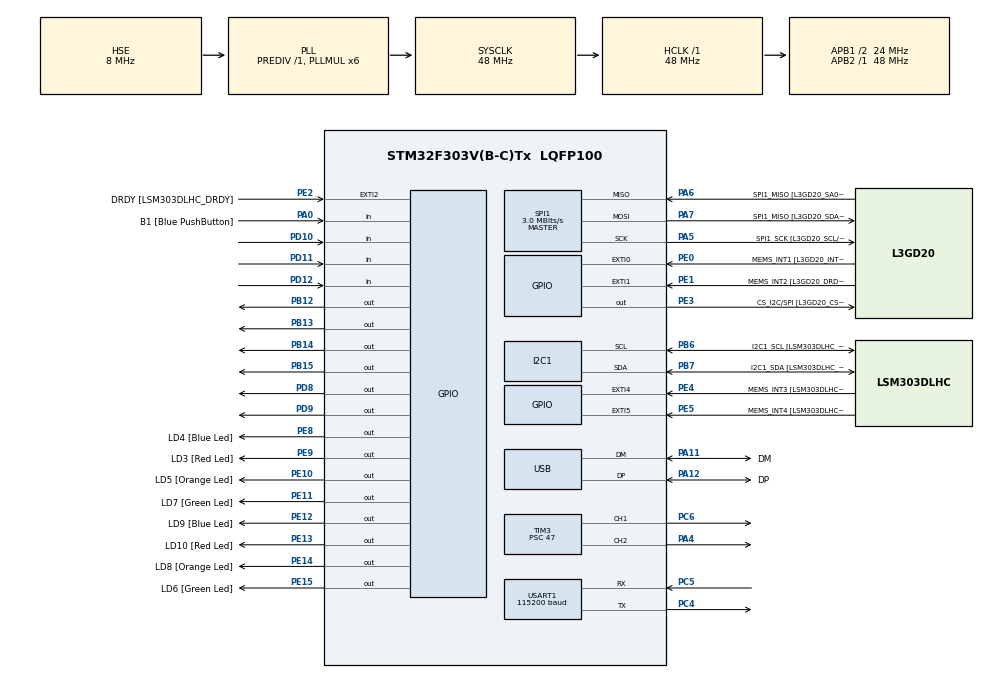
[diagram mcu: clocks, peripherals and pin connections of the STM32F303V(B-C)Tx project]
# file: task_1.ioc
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I2C1.Timing=0x00201D2B
I2C1.Timing-I2C=0x2000090E
Mcu.Family=STM32F3
Mcu.Name=STM32F303V(B-C)Tx
Mcu.Package=LQFP100
NVIC.PriorityGroup=NVIC_PRIORITYGROUP_0
NVIC.TIM3_IRQn=true\:0\:0\:false\:false\:true\:true\:true\:true
NVIC.USB_LP_CAN_RX0_IRQn=true\:0\:0\:false\:false\:true\:false\:true\:true
PA0.GPIO_Label=B1 [Blue PushButton]
PA0.Signal=GPIO_Input
PA11.GPIO_Label=DM
PA11.Mode=Device
PA11.Signal=USB_DM
PA12.GPIO_Label=DP
PA12.Mode=Device
PA12.Signal=USB_DP
PA13.GPIO_Label=SWDIO
PA13.Mode=Serial_Wire
PA13.Signal=SYS_JTMS-SWDIO
PA14.GPIO_Label=SWCLK
PA14.Mode=Serial_Wire
PA14.Signal=SYS_JTCK-SWCLK
PA4.Signal=S_TIM3_CH2
PA5.GPIO_Label=SPI1_SCK [L3GD20_SCL/SPC]
PA5.Mode=Full_Duplex_Master
PA5.Signal=SPI1_SCK
PA6.GPIO_Label=SPI1_MISO [L3GD20_SA0/SDO]
PA6.Mode=Full_Duplex_Master
PA6.Signal=SPI1_MISO
PA7.GPIO_Label=SPI1_MISO [L3GD20_SDA/SDI/SDO]
PA7.Mode=Full_Duplex_Master
PA7.Signal=SPI1_MOSI
PB12.Signal=GPIO_Output
PB13.Signal=GPIO_Output
PB14.Signal=GPIO_Output
PB15.Signal=GPIO_Output
PB3.GPIO_Label=SWO
PB3.Signal=SYS_JTDO-TRACESWO
PB6.GPIO_Label=I2C1_SCL [LSM303DLHC_SCL]
PB6.GPIO_Pu=GPIO_PULLUP
PB6.Mode=I2C
PB6.Signal=I2C1_SCL
PB7.GPIO_Label=I2C1_SDA [LSM303DLHC_SDA]
PB7.GPIO_Pu=GPIO_PULLUP
PB7.Mode=I2C
PB7.Signal=I2C1_SDA
PC14-OSC32_IN.GPIO_Label=OSC32_IN
PC14-OSC32_IN.Signal=RCC_OSC32_IN
PC15-OSC32_OUT.GPIO_Label=OSC32_OUT
PC15-OSC32_OUT.Signal=RCC_OSC32_OUT
PC4.Mode=Asynchronous
PC4.Signal=USART1_TX
PC5.Mode=Asynchronous
PC5.Signal=USART1_RX
PC6.Signal=S_TIM3_CH1
PD10.Signal=GPIO_Input
PD11.Signal=GPIO_Input
PD12.Signal=GPIO_Input
PD8.Signal=GPIO_Output
PD9.Signal=GPIO_Output
PE0.GPIO_Label=MEMS_INT1 [L3GD20_INT1]
PE0.GPIO_ModeDefaultEXTI=GPIO_MODE_EVT_RISING
PE0.Signal=GPXTI0
PE1.GPIO_Label=MEMS_INT2 [L3GD20_DRDY/INT2]
PE1.GPIO_ModeDefaultEXTI=GPIO_MODE_EVT_RISING
PE1.Signal=GPXTI1
PE10.GPIO_Label=LD5 [Orange Led]
PE10.Signal=GPIO_Output
PE11.GPIO_Label=LD7 [Green Led]
PE11.Signal=GPIO_Output
PE12.GPIO_Label=LD9 [Blue Led]
PE12.Signal=GPIO_Output
PE13.GPIO_Label=LD10 [Red Led]
PE13.Signal=GPIO_Output
PE14.GPIO_Label=LD8 [Orange Led]
PE14.Signal=GPIO_Output
PE15.GPIO_Label=LD6 [Green Led]
PE15.Signal=GPIO_Output
PE2.GPIO_Label=DRDY [LSM303DLHC_DRDY]
PE2.GPIO_ModeDefaultEXTI=GPIO_MODE_EVT_RISING
PE2.Signal=GPXTI2
PE3.GPIO_Label=CS_I2C/SPI [L3GD20_CS_I2C/SPI]
PE3.Signal=GPIO_Output
PE4.GPIO_Label=MEMS_INT3 [LSM303DLHC_INT1]
PE4.GPIO_ModeDefaultEXTI=GPIO_MODE_EVT_RISING
PE4.Signal=GPXTI4
PE5.GPIO_Label=MEMS_INT4 [LSM303DLHC_INT2]
PE5.GPIO_ModeDefaultEXTI=GPIO_MODE_EVT_RISING
PE5.Signal=GPXTI5
PE8.GPIO_Label=LD4 [Blue Led]
PE8.Signal=GPIO_Output
PE9.GPIO_Label=LD3 [Red Led]
PE9.Signal=GPIO_Output
PF0-OSC_IN.GPIO_Label=OSC_IN
PF0-OSC_IN.Mode=HSE-External-Clock-Source
PF0-OSC_IN.Signal=RCC_OSC_IN
PF1-OSC_OUT.GPIO_Label=OSC_OUT
PF1-OSC_OUT.Signal=RCC_OSC_OUT
ProjectManager.HeapSize=0x200
ProjectManager.StackSize=0x400
ProjectManager.TargetToolchain=CMake
RCC.AHBFreq_Value=48000000
RCC.APB1CLKDivider=RCC_HCLK_DIV2
RCC.APB1Freq_Value=24000000
RCC.APB1TimFreq_Value=48000000
RCC.APB2Freq_Value=48000000
RCC.APB2TimFreq_Value=48000000
RCC.CortexFreq_Value=48000000
RCC.HCLKFreq_Value=48000000
RCC.HSE_VALUE=8000000
RCC.HSI_VALUE=8000000
RCC.LSE_VALUE=32768
RCC.PLLMUL=RCC_PLL_MUL6
RCC.SYSCLKFreq_VALUE=48000000
RCC.SYSCLKSourceVirtual=RCC_SYSCLKSOURCE_PLLCLK
RCC.USBFreq_Value=48000000
SH.S_TIM3_CH1.0=TIM3_CH1,PWM Generation1 CH1
SH.S_TIM3_CH2.0=TIM3_CH2,PWM Generation2 CH2
SPI1.BaudRatePrescaler=SPI_BAUDRATEPRESCALER_16
SPI1.BaudRatePrescaler-Full_Duplex_Master=SPI_BAUDRATEPRESCALER_2
SPI1.CLKPhase=SPI_PHASE_2EDGE
SPI1.CLKPolarity=SPI_POLARITY_HIGH
SPI1.CalculateBaudRate=3.0 MBits/s
SPI1.CalculateBaudRate-Full_Duplex_Master=24.0 MBits/s
SPI1.DataSize=SPI_DATASIZE_8BIT
SPI1.Direction=SPI_DIRECTION_2LINES
SPI1.Mode=SPI_MODE_MASTER
SPI1.Mode-Full_Duplex_Master=SPI_MODE_MASTER
SPI1.VirtualType=VM_MASTER
TIM3.Channel-PWM\ Generation1\ CH1=TIM_CHANNEL_1
TIM3.Channel-PWM\ Generation2\ CH2=TIM_CHANNEL_2
TIM3.Period=4999
TIM3.Prescaler=47
USART1.BaudRate=115200
USART1.VirtualMode-Asynchronous=VM_ASYNC
USB_DEVICE.CLASS_NAME_FS=CDC
USB_DEVICE.VirtualMode=Cdc
USB_DEVICE.VirtualModeFS=Cdc_FS
VP_TIM3_VS_ClockSourceINT.Mode=Internal
VP_USB_DEVICE_VS_USB_DEVICE_CDC_FS.Mode=CDC_FS
board=STM32F3DISCOVERY

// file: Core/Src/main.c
/* USER CODE BEGIN Header */
/**
  ******************************************************************************
  * @file           : main.c
  * @brief          : Main program body
  ******************************************************************************
  * @attention
  *
  * Copyright (c) 2026 STMicroelectronics.
  * All rights reserved.
  *
  * This software is licensed under terms that can be found in the LICENSE file
  * in the root directory of this software component.
  * If no LICENSE file comes with this software, it is provided AS-IS.
  *
  ******************************************************************************
  */
/* USER CODE END Header */
#include "main.h"
#include "usb_device.h"
#include <math.h>

I2C_HandleTypeDef hi2c1;

SPI_HandleTypeDef hspi1;

TIM_HandleTypeDef htim3;

UART_HandleTypeDef huart1;

/* USER CODE BEGIN PV */
#define DT 0.005f  // 200Hz loop (1/200 = 0.005s)
float angle = 0.0f;
float gyro_rate = 0.0f;
float acc_angle = 0.0f;
volatile float shared_angle = 0.0f; // This is the "Bridge" between ISR and Main
volatile uint8_t display_flag = 0;
/* USER CODE END PV */

void SystemClock_Config(void);
static void MX_GPIO_Init(void);
static void MX_I2C1_Init(void);
static void MX_SPI1_Init(void);
static void MX_TIM3_Init(void);
static void MX_USART1_UART_Init(void);

/* USER CODE BEGIN 0 */

// Function to write data
void I3G_WriteReg(uint8_t reg_addr, uint8_t data) {
    uint8_t tx_buffer[2];
    tx_buffer[0] = reg_addr & 0x7F; // Bit 7 = 0 for WRITE
    tx_buffer[1] = data;

    HAL_GPIO_WritePin(GPIOE, GPIO_PIN_3, GPIO_PIN_RESET);
    HAL_SPI_Transmit(&hspi1, tx_buffer, 2, HAL_MAX_DELAY);
    HAL_GPIO_WritePin(GPIOE, GPIO_PIN_3, GPIO_PIN_SET);
}

// Function to read data
uint8_t I3G_ReadReg(uint8_t reg_addr) {
    uint8_t tx_data = reg_addr | 0x80; // Bit 7 = 1 for READ
    uint8_t rx_data;

    HAL_GPIO_WritePin(GPIOE, GPIO_PIN_3, GPIO_PIN_RESET);
    HAL_SPI_Transmit(&hspi1, &tx_data, 1, HAL_MAX_DELAY);
    HAL_SPI_Receive(&hspi1, &rx_data, 1, HAL_MAX_DELAY);
    HAL_GPIO_WritePin(GPIOE, GPIO_PIN_3, GPIO_PIN_SET);

    return rx_data;
}

// --- LSM303DLHC Accelerometer I2C Helper Functions ---
#define ACC_I2C_ADDR 0x32 // 8-bit I2C address for the accelerometer

// Function to write data to the Accelerometer
void LSM303_WriteReg(uint8_t reg_addr, uint8_t data) {
    HAL_I2C_Mem_Write(&hi2c1, ACC_I2C_ADDR, reg_addr, I2C_MEMADD_SIZE_8BIT, &data, 1, HAL_MAX_DELAY);
}

// Function to read data from the Accelerometer
uint8_t LSM303_ReadReg(uint8_t reg_addr) {
    uint8_t rx_data;
    HAL_I2C_Mem_Read(&hi2c1, ACC_I2C_ADDR, reg_addr, I2C_MEMADD_SIZE_8BIT, &rx_data, 1, HAL_MAX_DELAY);
    return rx_data;
}
/* USER CODE END 0 */

int main(void)
{

  /* MCU Configuration--------------------------------------------------------*/

  /* Reset of all peripherals, Initializes the Flash interface and the Systick. */
  HAL_Init();

  /* Configure the system clock */
  SystemClock_Config();

  /* Initialize all configured peripherals */
  MX_GPIO_Init();
  MX_I2C1_Init();
  MX_SPI1_Init();
  MX_TIM3_Init();
  MX_USART1_UART_Init();
  MX_USB_DEVICE_Init();

  /* USER CODE BEGIN 2 */

  I3G_WriteReg(0x20, 0x4F);
  HAL_TIM_Base_Start_IT(&htim3);

  // 1. Initialize the I3G4250D Gyroscope (SPI)
  I3G_WriteReg(0x20, 0x4F); // 200Hz ODR, all axes enabled

  // 2. Initialize the LSM303DLHC Accelerometer (I2C)
  // Write to CTRL_REG1_A (Address 0x20)
  // Value 0x67 (0b01100111) configures: 200Hz ODR, Normal mode, X/Y/Z axes enabled
  LSM303_WriteReg(0x20, 0x67);

  // Write to CTRL_REG4_A (Address 0x23)
  // Value 0x08 enables hig res mode for better accuracy
  LSM303_WriteReg(0x23, 0x08);

  // 3. Start the 200Hz Timer
  HAL_TIM_Base_Start_IT(&htim3);
  /* USER CODE END 2 */

  /* Infinite loop */
  /* USER CODE BEGIN WHILE */
  /* Infinite loop */
  /* USER CODE BEGIN WHILE */
  while (1)
  {
      if (display_flag == 1) {
          display_flag = 0; // Reset flag
          char tx_buffer[64];

          // Format the data with \r\n for a new line
          int len = sprintf(tx_buffer, "%.2f,%.2f,%.2f\r\n", shared_angle, acc_angle, gyro_rate);

          // Transmit over UART1 to the USB ST-Link
          HAL_UART_Transmit(&huart1, (uint8_t*)tx_buffer, len, HAL_MAX_DELAY);
      }
    /* USER CODE END WHILE */
  }
  /* USER CODE END 3 */
}

void SystemClock_Config(void)
{
  RCC_OscInitTypeDef RCC_OscInitStruct = {0};
  RCC_ClkInitTypeDef RCC_ClkInitStruct = {0};
  RCC_PeriphCLKInitTypeDef PeriphClkInit = {0};

  /** Initializes the RCC Oscillators according to the specified parameters
  * in the RCC_OscInitTypeDef structure.
  */
  RCC_OscInitStruct.OscillatorType = RCC_OSCILLATORTYPE_HSI|RCC_OSCILLATORTYPE_HSE;
  RCC_OscInitStruct.HSEState = RCC_HSE_BYPASS;
  RCC_OscInitStruct.HSEPredivValue = RCC_HSE_PREDIV_DIV1;
  RCC_OscInitStruct.HSIState = RCC_HSI_ON;
  RCC_OscInitStruct.HSICalibrationValue = RCC_HSICALIBRATION_DEFAULT;
  RCC_OscInitStruct.PLL.PLLState = RCC_PLL_ON;
  RCC_OscInitStruct.PLL.PLLSource = RCC_PLLSOURCE_HSE;
  RCC_OscInitStruct.PLL.PLLMUL = RCC_PLL_MUL6;
  if (HAL_RCC_OscConfig(&RCC_OscInitStruct) != HAL_OK)
  {
    Error_Handler();
  }

  /** Initializes the CPU, AHB and APB buses clocks
  */
  RCC_ClkInitStruct.ClockType = RCC_CLOCKTYPE_HCLK|RCC_CLOCKTYPE_SYSCLK
                              |RCC_CLOCKTYPE_PCLK1|RCC_CLOCKTYPE_PCLK2;
  RCC_ClkInitStruct.SYSCLKSource = RCC_SYSCLKSOURCE_PLLCLK;
  RCC_ClkInitStruct.AHBCLKDivider = RCC_SYSCLK_DIV1;
  RCC_ClkInitStruct.APB1CLKDivider = RCC_HCLK_DIV2;
  RCC_ClkInitStruct.APB2CLKDivider = RCC_HCLK_DIV1;

  if (HAL_RCC_ClockConfig(&RCC_ClkInitStruct, FLASH_LATENCY_1) != HAL_OK)
  {
    Error_Handler();
  }
  PeriphClkInit.PeriphClockSelection = RCC_PERIPHCLK_USB|RCC_PERIPHCLK_USART1
                              |RCC_PERIPHCLK_I2C1;
  PeriphClkInit.Usart1ClockSelection = RCC_USART1CLKSOURCE_PCLK2;
  PeriphClkInit.I2c1ClockSelection = RCC_I2C1CLKSOURCE_HSI;
  PeriphClkInit.USBClockSelection = RCC_USBCLKSOURCE_PLL;
  if (HAL_RCCEx_PeriphCLKConfig(&PeriphClkInit) != HAL_OK)
  {
    Error_Handler();
  }
}

static void MX_I2C1_Init(void)
{

  hi2c1.Instance = I2C1;
  hi2c1.Init.Timing = 0x00201D2B;
  hi2c1.Init.OwnAddress1 = 0;
  hi2c1.Init.AddressingMode = I2C_ADDRESSINGMODE_7BIT;
  hi2c1.Init.DualAddressMode = I2C_DUALADDRESS_DISABLE;
  hi2c1.Init.OwnAddress2 = 0;
  hi2c1.Init.OwnAddress2Masks = I2C_OA2_NOMASK;
  hi2c1.Init.GeneralCallMode = I2C_GENERALCALL_DISABLE;
  hi2c1.Init.NoStretchMode = I2C_NOSTRETCH_DISABLE;
  if (HAL_I2C_Init(&hi2c1) != HAL_OK)
  {
    Error_Handler();
  }

  /** Configure Analogue filter
  */
  if (HAL_I2CEx_ConfigAnalogFilter(&hi2c1, I2C_ANALOGFILTER_ENABLE) != HAL_OK)
  {
    Error_Handler();
  }

  /** Configure Digital filter
  */
  if (HAL_I2CEx_ConfigDigitalFilter(&hi2c1, 0) != HAL_OK)
  {
    Error_Handler();
  }

}

static void MX_SPI1_Init(void)
{

  /* SPI1 parameter configuration*/
  hspi1.Instance = SPI1;
  hspi1.Init.Mode = SPI_MODE_MASTER;
  hspi1.Init.Direction = SPI_DIRECTION_2LINES;
  hspi1.Init.DataSize = SPI_DATASIZE_8BIT;
  hspi1.Init.CLKPolarity = SPI_POLARITY_HIGH;
  hspi1.Init.CLKPhase = SPI_PHASE_2EDGE;
  hspi1.Init.NSS = SPI_NSS_SOFT;
  hspi1.Init.BaudRatePrescaler = SPI_BAUDRATEPRESCALER_16;
  hspi1.Init.FirstBit = SPI_FIRSTBIT_MSB;
  hspi1.Init.TIMode = SPI_TIMODE_DISABLE;
  hspi1.Init.CRCCalculation = SPI_CRCCALCULATION_DISABLE;
  hspi1.Init.CRCPolynomial = 7;
  hspi1.Init.CRCLength = SPI_CRC_LENGTH_DATASIZE;
  hspi1.Init.NSSPMode = SPI_NSS_PULSE_DISABLE;
  if (HAL_SPI_Init(&hspi1) != HAL_OK)
  {
    Error_Handler();
  }

}

static void MX_TIM3_Init(void)
{

  TIM_ClockConfigTypeDef sClockSourceConfig = {0};
  TIM_MasterConfigTypeDef sMasterConfig = {0};
  TIM_OC_InitTypeDef sConfigOC = {0};

  htim3.Instance = TIM3;
  htim3.Init.Prescaler = 47;
  htim3.Init.CounterMode = TIM_COUNTERMODE_UP;
  htim3.Init.Period = 4999;
  htim3.Init.ClockDivision = TIM_CLOCKDIVISION_DIV1;
  htim3.Init.AutoReloadPreload = TIM_AUTORELOAD_PRELOAD_DISABLE;
  if (HAL_TIM_Base_Init(&htim3) != HAL_OK)
  {
    Error_Handler();
  }
  sClockSourceConfig.ClockSource = TIM_CLOCKSOURCE_INTERNAL;
  if (HAL_TIM_ConfigClockSource(&htim3, &sClockSourceConfig) != HAL_OK)
  {
    Error_Handler();
  }
  if (HAL_TIM_PWM_Init(&htim3) != HAL_OK)
  {
    Error_Handler();
  }
  sMasterConfig.MasterOutputTrigger = TIM_TRGO_RESET;
  sMasterConfig.MasterSlaveMode = TIM_MASTERSLAVEMODE_DISABLE;
  if (HAL_TIMEx_MasterConfigSynchronization(&htim3, &sMasterConfig) != HAL_OK)
  {
    Error_Handler();
  }
  sConfigOC.OCMode = TIM_OCMODE_PWM1;
  sConfigOC.Pulse = 0;
  sConfigOC.OCPolarity = TIM_OCPOLARITY_HIGH;
  sConfigOC.OCFastMode = TIM_OCFAST_DISABLE;
  if (HAL_TIM_PWM_ConfigChannel(&htim3, &sConfigOC, TIM_CHANNEL_1) != HAL_OK)
  {
    Error_Handler();
  }
  if (HAL_TIM_PWM_ConfigChannel(&htim3, &sConfigOC, TIM_CHANNEL_2) != HAL_OK)
  {
    Error_Handler();
  }
  HAL_TIM_MspPostInit(&htim3);

}

static void MX_USART1_UART_Init(void)
{

  huart1.Instance = USART1;
  huart1.Init.BaudRate = 115200;
  huart1.Init.WordLength = UART_WORDLENGTH_8B;
  huart1.Init.StopBits = UART_STOPBITS_1;
  huart1.Init.Parity = UART_PARITY_NONE;
  huart1.Init.Mode = UART_MODE_TX_RX;
  huart1.Init.HwFlowCtl = UART_HWCONTROL_NONE;
  huart1.Init.OverSampling = UART_OVERSAMPLING_16;
  huart1.Init.OneBitSampling = UART_ONE_BIT_SAMPLE_DISABLE;
  huart1.AdvancedInit.AdvFeatureInit = UART_ADVFEATURE_NO_INIT;
  if (HAL_UART_Init(&huart1) != HAL_OK)
  {
    Error_Handler();
  }

}

static void MX_GPIO_Init(void)
{
  GPIO_InitTypeDef GPIO_InitStruct = {0};

  /* GPIO Ports Clock Enable */
  __HAL_RCC_GPIOE_CLK_ENABLE();
  __HAL_RCC_GPIOC_CLK_ENABLE();
  __HAL_RCC_GPIOF_CLK_ENABLE();
  __HAL_RCC_GPIOA_CLK_ENABLE();
  __HAL_RCC_GPIOB_CLK_ENABLE();
  __HAL_RCC_GPIOD_CLK_ENABLE();

  /*Configure GPIO pin Output Level */
  HAL_GPIO_WritePin(GPIOE, CS_I2C_SPI_Pin|LD4_Pin|LD3_Pin|LD5_Pin
                          |LD7_Pin|LD9_Pin|LD10_Pin|LD8_Pin
                          |LD6_Pin, GPIO_PIN_RESET);

  /*Configure GPIO pin Output Level */
  HAL_GPIO_WritePin(GPIOB, GPIO_PIN_12|GPIO_PIN_13|GPIO_PIN_14|GPIO_PIN_15, GPIO_PIN_RESET);

  /*Configure GPIO pin Output Level */
  HAL_GPIO_WritePin(GPIOD, GPIO_PIN_8|GPIO_PIN_9, GPIO_PIN_RESET);

  /*Configure GPIO pins : DRDY_Pin MEMS_INT3_Pin MEMS_INT4_Pin MEMS_INT1_Pin
                           MEMS_INT2_Pin */
  GPIO_InitStruct.Pin = DRDY_Pin|MEMS_INT3_Pin|MEMS_INT4_Pin|MEMS_INT1_Pin
                          |MEMS_INT2_Pin;
  GPIO_InitStruct.Mode = GPIO_MODE_EVT_RISING;
  GPIO_InitStruct.Pull = GPIO_NOPULL;
  HAL_GPIO_Init(GPIOE, &GPIO_InitStruct);

  /*Configure GPIO pins : CS_I2C_SPI_Pin LD4_Pin LD3_Pin LD5_Pin
                           LD7_Pin LD9_Pin LD10_Pin LD8_Pin
                           LD6_Pin */
  GPIO_InitStruct.Pin = CS_I2C_SPI_Pin|LD4_Pin|LD3_Pin|LD5_Pin
                          |LD7_Pin|LD9_Pin|LD10_Pin|LD8_Pin
                          |LD6_Pin;
  GPIO_InitStruct.Mode = GPIO_MODE_OUTPUT_PP;
  GPIO_InitStruct.Pull = GPIO_NOPULL;
  GPIO_InitStruct.Speed = GPIO_SPEED_FREQ_LOW;
  HAL_GPIO_Init(GPIOE, &GPIO_InitStruct);

  /*Configure GPIO pin : B1_Pin */
  GPIO_InitStruct.Pin = B1_Pin;
  GPIO_InitStruct.Mode = GPIO_MODE_INPUT;
  GPIO_InitStruct.Pull = GPIO_NOPULL;
  HAL_GPIO_Init(B1_GPIO_Port, &GPIO_InitStruct);

  /*Configure GPIO pins : PB12 PB13 PB14 PB15 */
  GPIO_InitStruct.Pin = GPIO_PIN_12|GPIO_PIN_13|GPIO_PIN_14|GPIO_PIN_15;
  GPIO_InitStruct.Mode = GPIO_MODE_OUTPUT_PP;
  GPIO_InitStruct.Pull = GPIO_NOPULL;
  GPIO_InitStruct.Speed = GPIO_SPEED_FREQ_LOW;
  HAL_GPIO_Init(GPIOB, &GPIO_InitStruct);

  /*Configure GPIO pins : PD8 PD9 */
  GPIO_InitStruct.Pin = GPIO_PIN_8|GPIO_PIN_9;
  GPIO_InitStruct.Mode = GPIO_MODE_OUTPUT_PP;
  GPIO_InitStruct.Pull = GPIO_NOPULL;
  GPIO_InitStruct.Speed = GPIO_SPEED_FREQ_LOW;
  HAL_GPIO_Init(GPIOD, &GPIO_InitStruct);

  /*Configure GPIO pins : PD10 PD11 PD12 */
  GPIO_InitStruct.Pin = GPIO_PIN_10|GPIO_PIN_11|GPIO_PIN_12;
  GPIO_InitStruct.Mode = GPIO_MODE_INPUT;
  GPIO_InitStruct.Pull = GPIO_NOPULL;
  HAL_GPIO_Init(GPIOD, &GPIO_InitStruct);

}

/* USER CODE BEGIN 4 */
void HAL_TIM_PeriodElapsedCallback(TIM_HandleTypeDef *htim) {
    if (htim->Instance == TIM3) {
        static float internal_tilt = 0.0f;
        static int uart_div = 0;

        // 1. READ GYROSCOPE (SPI)
        uint8_t y_low_g = I3G_ReadReg(0x2A);
        uint8_t y_high_g = I3G_ReadReg(0x2B);
        int16_t raw_gyro_y = (int16_t)((y_high_g << 8) | y_low_g);
        float gyro_y_dps = (float)raw_gyro_y * 0.00875f;

        // 2. READ ACCELEROMETER (I2C)
        // Read Y-axis
        uint8_t y_low_a = LSM303_ReadReg(0x2A);
        uint8_t y_high_a = LSM303_ReadReg(0x2B);
        int16_t acc_y = (int16_t)((y_high_a << 8) | y_low_a);

        // Read Z-axis
        uint8_t z_low_a = LSM303_ReadReg(0x2C);
        uint8_t z_high_a = LSM303_ReadReg(0x2D);
        int16_t acc_z = (int16_t)((z_high_a << 8) | z_low_a);

        // Multiply Angle by 57.2958 to convert Radians to Degrees
        float acc_angle_deg = atan2f((float)acc_y, (float)acc_z) * 57.2958f;

        // Update global variable for debugging/plotting
        acc_angle = acc_angle_deg;
        gyro_rate = gyro_y_dps;

        // 3. COMPLEMENTARY FILTER
        internal_tilt = 0.98f * (internal_tilt + gyro_y_dps * 0.005f) + 0.02f * acc_angle_deg;
        shared_angle = internal_tilt;

        // 4. UART THROTTLING
        if (++uart_div >= 20) {
            display_flag = 1;
            uart_div = 0;
        }
    }
}
/* USER CODE END 4 */

void Error_Handler(void)
{
  __disable_irq();
  while (1)
  {
  }
}
